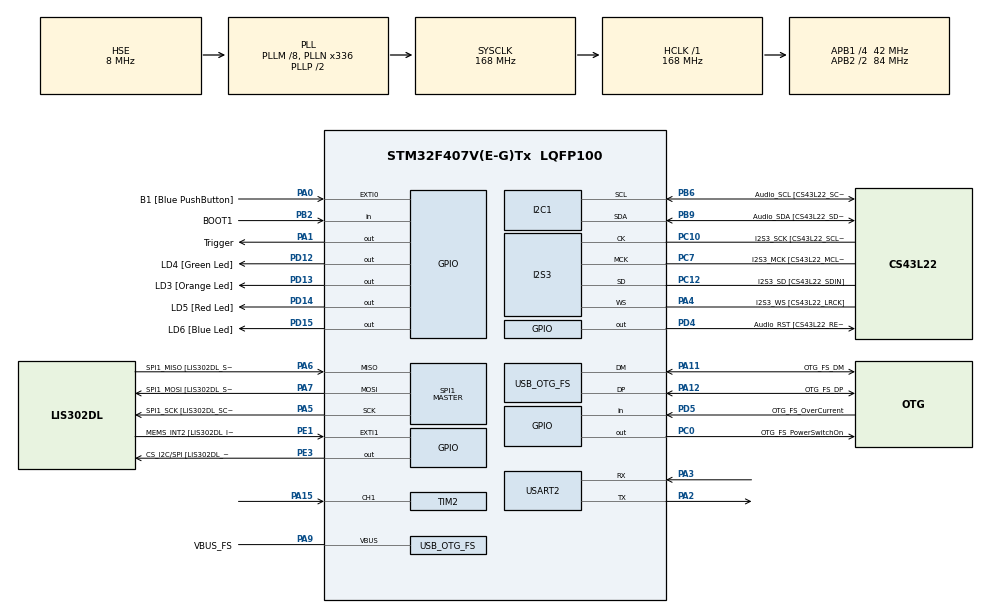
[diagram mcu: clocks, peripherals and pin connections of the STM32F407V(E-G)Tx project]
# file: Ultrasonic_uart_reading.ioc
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I2S3.AudioFreq-Half_Duplex_Master=I2S_AUDIOFREQ_96K
I2S3.ErrorAudioFreq=-2.34 %
I2S3.ErrorAudioFreq-Half_Duplex_Master=0.8 %
I2S3.FullDuplexMode=I2S_FULLDUPLEXMODE_DISABLE
I2S3.Instance=SPI$Index
I2S3.RealAudioFreq=93.75 KHz
I2S3.RealAudioFreq-Half_Duplex_Master=96.774 KHz
I2S3.VirtualMode=I2S_MODE_MASTER
Mcu.Family=STM32F4
Mcu.Name=STM32F407V(E-G)Tx
Mcu.Package=LQFP100
NVIC.OTG_FS_IRQn=true\:0\:0\:false\:false\:true\:true\:true\:true
NVIC.PriorityGroup=NVIC_PRIORITYGROUP_0
NVIC.TIM2_IRQn=true\:0\:0\:false\:false\:true\:true\:true\:true
PA0-WKUP.GPIO_Label=B1 [Blue PushButton]
PA0-WKUP.GPIO_ModeDefaultEXTI=GPIO_MODE_EVT_RISING
PA0-WKUP.GPIO_PuPd=GPIO_NOPULL
PA0-WKUP.Signal=GPXTI0
PA1.GPIO_Label=Trigger
PA1.Signal=GPIO_Output
PA10.GPIO_Label=OTG_FS_ID
PA10.GPIO_Mode=GPIO_MODE_AF_PP
PA10.GPIO_PuPd=GPIO_NOPULL
PA10.GPIO_Speed=GPIO_SPEED_FREQ_LOW
PA10.Signal=USB_OTG_FS_ID
PA11.GPIO_Label=OTG_FS_DM
PA11.GPIO_Mode=GPIO_MODE_AF_PP
PA11.GPIO_PuPd=GPIO_NOPULL
PA11.GPIO_Speed=GPIO_SPEED_FREQ_LOW
PA11.Mode=Host_Only
PA11.Signal=USB_OTG_FS_DM
PA12.GPIO_Label=OTG_FS_DP
PA12.GPIO_Mode=GPIO_MODE_AF_PP
PA12.GPIO_PuPd=GPIO_NOPULL
PA12.GPIO_Speed=GPIO_SPEED_FREQ_LOW
PA12.Mode=Host_Only
PA12.Signal=USB_OTG_FS_DP
PA13.GPIO_Label=SWDIO
PA13.Mode=Serial_Wire
PA13.Signal=SYS_JTMS-SWDIO
PA14.GPIO_Label=SWCLK
PA14.Mode=Serial_Wire
PA14.Signal=SYS_JTCK-SWCLK
PA15.Signal=S_TIM2_CH1_ETR
PA2.Mode=Asynchronous
PA2.Signal=USART2_TX
PA3.Mode=Asynchronous
PA3.Signal=USART2_RX
PA4.GPIO_Label=I2S3_WS [CS43L22_LRCK]
PA4.GPIO_Mode=GPIO_MODE_AF_PP
PA4.GPIO_PuPd=GPIO_NOPULL
PA4.GPIO_Speed=GPIO_SPEED_FREQ_LOW
PA4.Mode=Half_Duplex_Master
PA4.Signal=I2S3_WS
PA5.GPIO_Label=SPI1_SCK [LIS302DL_SCL/SPC]
PA5.GPIO_Mode=GPIO_MODE_AF_PP
PA5.GPIO_PuPd=GPIO_NOPULL
PA5.GPIO_Speed=GPIO_SPEED_FREQ_LOW
PA5.Mode=Full_Duplex_Master
PA5.Signal=SPI1_SCK
PA6.GPIO_Label=SPI1_MISO [LIS302DL_SDO]
PA6.GPIO_Mode=GPIO_MODE_AF_PP
PA6.GPIO_PuPd=GPIO_NOPULL
PA6.GPIO_Speed=GPIO_SPEED_FREQ_LOW
PA6.Mode=Full_Duplex_Master
PA6.Signal=SPI1_MISO
PA7.GPIO_Label=SPI1_MOSI [LIS302DL_SDA/SDI/SDO]
PA7.GPIO_Mode=GPIO_MODE_AF_PP
PA7.GPIO_PuPd=GPIO_NOPULL
PA7.GPIO_Speed=GPIO_SPEED_FREQ_LOW
PA7.Mode=Full_Duplex_Master
PA7.Signal=SPI1_MOSI
PA9.GPIO_Label=VBUS_FS
PA9.GPIO_Mode=GPIO_MODE_INPUT
PA9.GPIO_PuPd=GPIO_NOPULL
PA9.Mode=Activate_VBUS
PA9.Signal=USB_OTG_FS_VBUS
PB10.GPIO_Label=CLK_IN [MP45DT02_CLK]
PB10.GPIO_Mode=GPIO_MODE_AF_PP
PB10.GPIO_PuPd=GPIO_NOPULL
PB10.GPIO_Speed=GPIO_SPEED_FREQ_LOW
PB10.Signal=I2S2_CK
PB2.GPIO_Label=BOOT1
PB2.GPIO_Mode=GPIO_MODE_INPUT
PB2.GPIO_PuPd=GPIO_NOPULL
PB2.Signal=GPIO_Input
PB3.GPIO_Label=SWO
PB3.Signal=SYS_JTDO-SWO
PB6.GPIO_Label=Audio_SCL [CS43L22_SCL]
PB6.GPIO_Mode=GPIO_MODE_AF_OD
PB6.GPIO_Pu=GPIO_PULLUP
PB6.GPIO_PuPd=GPIO_NOPULL
PB6.GPIO_Speed=GPIO_SPEED_FREQ_LOW
PB6.Mode=I2C
PB6.Signal=I2C1_SCL
PB9.GPIO_Label=Audio_SDA [CS43L22_SDA]
PB9.GPIO_Mode=GPIO_MODE_AF_OD
PB9.GPIO_Pu=GPIO_PULLUP
PB9.GPIO_PuPd=GPIO_NOPULL
PB9.GPIO_Speed=GPIO_SPEED_FREQ_LOW
PB9.Mode=I2C
PB9.Signal=I2C1_SDA
PC0.GPIO_Label=OTG_FS_PowerSwitchOn
PC0.GPIO_PuPd=GPIO_NOPULL
PC0.GPIO_Speed=GPIO_SPEED_FREQ_LOW
PC0.PinState=GPIO_PIN_SET
PC0.Signal=GPIO_Output
PC10.GPIO_Label=I2S3_SCK [CS43L22_SCLK]
PC10.GPIO_Mode=GPIO_MODE_AF_PP
PC10.GPIO_PuPd=GPIO_NOPULL
PC10.GPIO_Speed=GPIO_SPEED_FREQ_LOW
PC10.Mode=Half_Duplex_Master
PC10.Signal=I2S3_CK
PC12.GPIO_Label=I2S3_SD [CS43L22_SDIN]
PC12.GPIO_Mode=GPIO_MODE_AF_PP
PC12.GPIO_PuPd=GPIO_NOPULL
PC12.GPIO_Speed=GPIO_SPEED_FREQ_LOW
PC12.Mode=Half_Duplex_Master
PC12.Signal=I2S3_SD
PC14-OSC32_IN.GPIO_Label=PC14-OSC32_IN
PC14-OSC32_IN.Mode=LSE-External-Oscillator
PC14-OSC32_IN.Signal=RCC_OSC32_IN
PC15-OSC32_OUT.GPIO_Label=PC15-OSC32_OUT
PC15-OSC32_OUT.Mode=LSE-External-Oscillator
PC15-OSC32_OUT.Signal=RCC_OSC32_OUT
PC3.GPIO_Label=PDM_OUT [MP45DT02_DOUT]
PC3.GPIO_Mode=GPIO_MODE_AF_PP
PC3.GPIO_PuPd=GPIO_NOPULL
PC3.GPIO_Speed=GPIO_SPEED_FREQ_LOW
PC3.Signal=I2S2_SD
PC7.GPIO_Label=I2S3_MCK [CS43L22_MCLK]
PC7.GPIO_Mode=GPIO_MODE_AF_PP
PC7.GPIO_PuPd=GPIO_NOPULL
PC7.GPIO_Speed=GPIO_SPEED_FREQ_LOW
PC7.Mode=Master_Clock_Activated
PC7.Signal=I2S3_MCK
PD12.GPIO_Label=LD4 [Green Led]
PD12.GPIO_PuPd=GPIO_NOPULL
PD12.GPIO_Speed=GPIO_SPEED_FREQ_LOW
PD12.Signal=GPIO_Output
PD13.GPIO_Label=LD3 [Orange Led]
PD13.GPIO_PuPd=GPIO_NOPULL
PD13.GPIO_Speed=GPIO_SPEED_FREQ_LOW
PD13.Signal=GPIO_Output
PD14.GPIO_Label=LD5 [Red Led]
PD14.GPIO_PuPd=GPIO_NOPULL
PD14.GPIO_Speed=GPIO_SPEED_FREQ_LOW
PD14.Signal=GPIO_Output
PD15.GPIO_Label=LD6 [Blue Led]
PD15.GPIO_PuPd=GPIO_NOPULL
PD15.GPIO_Speed=GPIO_SPEED_FREQ_LOW
PD15.Signal=GPIO_Output
PD4.GPIO_Label=Audio_RST [CS43L22_RESET]
PD4.GPIO_PuPd=GPIO_NOPULL
PD4.GPIO_Speed=GPIO_SPEED_FREQ_LOW
PD4.Signal=GPIO_Output
PD5.GPIO_Label=OTG_FS_OverCurrent
PD5.GPIO_Mode=GPIO_MODE_INPUT
PD5.GPIO_PuPd=GPIO_NOPULL
PD5.Signal=GPIO_Input
PE1.GPIO_Label=MEMS_INT2 [LIS302DL_INT2]
PE1.GPIO_ModeDefaultEXTI=GPIO_MODE_EVT_RISING
PE1.GPIO_PuPd=GPIO_NOPULL
PE1.Signal=GPXTI1
PE3.GPIO_Label=CS_I2C/SPI [LIS302DL_CS_I2C/SPI]
PE3.GPIO_PuPd=GPIO_NOPULL
PE3.GPIO_Speed=GPIO_SPEED_FREQ_LOW
PE3.Signal=GPIO_Output
PH0-OSC_IN.GPIO_Label=PH0-OSC_IN
PH0-OSC_IN.Mode=HSE-External-Oscillator
PH0-OSC_IN.Signal=RCC_OSC_IN
PH1-OSC_OUT.GPIO_Label=PH1-OSC_OUT
PH1-OSC_OUT.Mode=HSE-External-Oscillator
PH1-OSC_OUT.Signal=RCC_OSC_OUT
ProjectManager.HeapSize=0x200
ProjectManager.StackSize=0x400
ProjectManager.TargetToolchain=STM32CubeIDE
RCC.48MHZClocksFreq_Value=48000000
RCC.AHBFreq_Value=168000000
RCC.APB1CLKDivider=RCC_HCLK_DIV4
RCC.APB1Freq_Value=42000000
RCC.APB1TimFreq_Value=84000000
RCC.APB2CLKDivider=RCC_HCLK_DIV2
RCC.APB2Freq_Value=84000000
RCC.APB2TimFreq_Value=168000000
RCC.CortexFreq_Value=168000000
RCC.HCLKFreq_Value=168000000
RCC.HSE_VALUE=8000000
RCC.HSI_VALUE=16000000
RCC.PLLM=8
RCC.PLLN=336
RCC.PLLQ=7
RCC.SYSCLKFreq_VALUE=168000000
RCC.SYSCLKSource=RCC_SYSCLKSOURCE_PLLCLK
RCC.VCOOutputFreq_Value=336000000
SH.S_TIM2_CH1_ETR.0=TIM2_CH1,Input_Capture1_from_TI1
SPI1.BaudRatePrescaler-Full_Duplex_Master=SPI_BAUDRATEPRESCALER_2
SPI1.CalculateBaudRate-Full_Duplex_Master=42.0 MBits/s
SPI1.Direction=SPI_DIRECTION_2LINES
SPI1.Mode=SPI_MODE_MASTER
SPI1.Mode-Full_Duplex_Master=SPI_MODE_MASTER
SPI1.VirtualType=VM_MASTER
TIM2.Channel-Input_Capture1_from_TI1=TIM_CHANNEL_1
TIM2.Prescaler=83
USART2.VirtualMode=VM_ASYNC
USB_HOST.BSP.number=1
USB_HOST.USBH_HandleTypeDef-CDC_FS=hUsbHostFS
USB_HOST.VirtualModeFS=Cdc
USB_HOST0.BSP.STBoard=false
USB_HOST0.BSP.api=Unknown
USB_HOST0.BSP.instance=PC0
USB_HOST0.BSP.ip=GPIO
USB_HOST0.BSP.mode=Output
USB_HOST0.BSP.name=Drive_VBUS_FS
USB_HOST0.BSP.solution=PC0
USB_OTG_FS.VirtualMode=Host_Only
USB_OTG_FS.phy_itface=HCD_PHY_EMBEDDED
VP_USB_HOST_VS_USB_HOST_CDC_FS.Mode=CDC_FS
board=STM32F407G-DISC1

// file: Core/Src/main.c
/* USER CODE BEGIN Header */
/**
  ******************************************************************************
  * @file           : main.c
  * @brief          : Main program body
  ******************************************************************************
  * @attention
  *
  * Copyright (c) 2026 STMicroelectronics.
  * All rights reserved.
  *
  * This software is licensed under terms that can be found in the LICENSE file
  * in the root directory of this software component.
  * If no LICENSE file comes with this software, it is provided AS-IS.
  *
  ******************************************************************************
  */
/* USER CODE END Header */
#include "main.h"
#include "usb_host.h"
#include<stdio.h>
#include<string.h>

I2C_HandleTypeDef hi2c1;

I2S_HandleTypeDef hi2s3;

SPI_HandleTypeDef hspi1;

TIM_HandleTypeDef htim2;

UART_HandleTypeDef huart2;

void SystemClock_Config(void);
static void MX_GPIO_Init(void);
static void MX_I2C1_Init(void);
static void MX_I2S3_Init(void);
static void MX_SPI1_Init(void);
static void MX_TIM2_Init(void);
static void MX_USART2_UART_Init(void);
void MX_USB_HOST_Process(void);

/* USER CODE BEGIN 0 */
void delay(uint16_t time)
{
	__HAL_TIM_SET_COUNTER(&htim2,0);
	while(__HAL_TIM_GET_COUNTER(&htim2)<time);
}

uint32_t IC_Val1 = 0;
uint32_t IC_Val2 = 0;
uint32_t Difference = 0;
int Is_First_Captured = 0;  // is the first value captured ?
uint8_t Distance  = 0;
char uart_buf[50];
volatile uint8_t is_data_available = 0;
#define TRIG_PIN GPIO_PIN_1
#define TRIG_PORT GPIOA
void HAL_TIM_IC_CaptureCallback(TIM_HandleTypeDef *htim)
{
    if (htim->Channel == HAL_TIM_ACTIVE_CHANNEL_1)  // if the interrupt source is channel 1
    {
        if (Is_First_Captured == 0) // if the first value is not captured
        {
            IC_Val1 = HAL_TIM_ReadCapturedValue(htim, TIM_CHANNEL_1); // read the first value
            Is_First_Captured = 1;  // set the first captured as true
            // Now change the polarity to falling edge
            __HAL_TIM_SET_CAPTUREPOLARITY(htim, TIM_CHANNEL_1, TIM_INPUTCHANNELPOLARITY_FALLING);
        }

        else if (Is_First_Captured == 1)   // if the first is already captured
        {
            IC_Val2 = HAL_TIM_ReadCapturedValue(htim, TIM_CHANNEL_1);  // read second value
            __HAL_TIM_SET_COUNTER(htim, 0);  // reset the counter

            if (IC_Val2 > IC_Val1)
            {
                Difference = IC_Val2 - IC_Val1;
            }
            else if (IC_Val1 > IC_Val2)
            {
                Difference = (0xffff - IC_Val1) + IC_Val2;
            }

            Distance = Difference * .034 / 2;
            is_data_available = 1;

            Is_First_Captured = 0; // set it back to false

            // set polarity back to rising edge
            __HAL_TIM_SET_CAPTUREPOLARITY(htim, TIM_CHANNEL_1, TIM_INPUTCHANNELPOLARITY_RISING);
            __HAL_TIM_DISABLE_IT(&htim2, TIM_IT_CC1);
        }
    }
}
void HCSR04_Read (void)
{
    HAL_GPIO_WritePin(TRIG_PORT, TRIG_PIN, GPIO_PIN_SET);  // pull the TRIG pin HIGH
    delay(10);  // wait for 10 us
    HAL_GPIO_WritePin(TRIG_PORT, TRIG_PIN, GPIO_PIN_RESET);  // pull the TRIG pin LOW

    __HAL_TIM_ENABLE_IT(&htim2, TIM_IT_CC1);
}
/* USER CODE END 0 */

int main(void)
{

  /* MCU Configuration--------------------------------------------------------*/

  /* Reset of all peripherals, Initializes the Flash interface and the Systick. */
  HAL_Init();

  /* Configure the system clock */
  SystemClock_Config();

  /* Initialize all configured peripherals */
  MX_GPIO_Init();
  MX_I2C1_Init();
  MX_I2S3_Init();
  MX_SPI1_Init();
  MX_USB_HOST_Init();
  MX_TIM2_Init();
  MX_USART2_UART_Init();
  /* USER CODE BEGIN 2 */
  HAL_UART_Transmit(&huart2, (uint8_t*)"UART OK\r\n", 9, HAL_MAX_DELAY);
HAL_TIM_IC_Start_IT(&htim2, TIM_CHANNEL_1);
  /* USER CODE END 2 */

  /* Infinite loop */
  while (1)
  {

    /* USER CODE BEGIN 3 */
    HCSR04_Read();
    if (is_data_available)
        {
            sprintf(uart_buf, "Distance: %d cm\r\n", Distance);
            HAL_UART_Transmit(&huart2, (uint8_t*)uart_buf, strlen(uart_buf), HAL_MAX_DELAY);

            is_data_available = 0;   // 🔥 reset flag
        }

    HAL_Delay(200);
  }
  /* USER CODE END 3 */
}

void SystemClock_Config(void)
{
  RCC_OscInitTypeDef RCC_OscInitStruct = {0};
  RCC_ClkInitTypeDef RCC_ClkInitStruct = {0};

  /** Configure the main internal regulator output voltage
  */
  __HAL_RCC_PWR_CLK_ENABLE();
  __HAL_PWR_VOLTAGESCALING_CONFIG(PWR_REGULATOR_VOLTAGE_SCALE1);

  /** Initializes the RCC Oscillators according to the specified parameters
  * in the RCC_OscInitTypeDef structure.
  */
  RCC_OscInitStruct.OscillatorType = RCC_OSCILLATORTYPE_HSE;
  RCC_OscInitStruct.HSEState = RCC_HSE_ON;
  RCC_OscInitStruct.PLL.PLLState = RCC_PLL_ON;
  RCC_OscInitStruct.PLL.PLLSource = RCC_PLLSOURCE_HSE;
  RCC_OscInitStruct.PLL.PLLM = 8;
  RCC_OscInitStruct.PLL.PLLN = 336;
  RCC_OscInitStruct.PLL.PLLP = RCC_PLLP_DIV2;
  RCC_OscInitStruct.PLL.PLLQ = 7;
  if (HAL_RCC_OscConfig(&RCC_OscInitStruct) != HAL_OK)
  {
    Error_Handler();
  }

  /** Initializes the CPU, AHB and APB buses clocks
  */
  RCC_ClkInitStruct.ClockType = RCC_CLOCKTYPE_HCLK|RCC_CLOCKTYPE_SYSCLK
                              |RCC_CLOCKTYPE_PCLK1|RCC_CLOCKTYPE_PCLK2;
  RCC_ClkInitStruct.SYSCLKSource = RCC_SYSCLKSOURCE_PLLCLK;
  RCC_ClkInitStruct.AHBCLKDivider = RCC_SYSCLK_DIV1;
  RCC_ClkInitStruct.APB1CLKDivider = RCC_HCLK_DIV4;
  RCC_ClkInitStruct.APB2CLKDivider = RCC_HCLK_DIV2;

  if (HAL_RCC_ClockConfig(&RCC_ClkInitStruct, FLASH_LATENCY_5) != HAL_OK)
  {
    Error_Handler();
  }
}

static void MX_I2C1_Init(void)
{

  hi2c1.Instance = I2C1;
  hi2c1.Init.ClockSpeed = 100000;
  hi2c1.Init.DutyCycle = I2C_DUTYCYCLE_2;
  hi2c1.Init.OwnAddress1 = 0;
  hi2c1.Init.AddressingMode = I2C_ADDRESSINGMODE_7BIT;
  hi2c1.Init.DualAddressMode = I2C_DUALADDRESS_DISABLE;
  hi2c1.Init.OwnAddress2 = 0;
  hi2c1.Init.GeneralCallMode = I2C_GENERALCALL_DISABLE;
  hi2c1.Init.NoStretchMode = I2C_NOSTRETCH_DISABLE;
  if (HAL_I2C_Init(&hi2c1) != HAL_OK)
  {
    Error_Handler();
  }

}

static void MX_I2S3_Init(void)
{

  hi2s3.Instance = SPI3;
  hi2s3.Init.Mode = I2S_MODE_MASTER_TX;
  hi2s3.Init.Standard = I2S_STANDARD_PHILIPS;
  hi2s3.Init.DataFormat = I2S_DATAFORMAT_16B;
  hi2s3.Init.MCLKOutput = I2S_MCLKOUTPUT_ENABLE;
  hi2s3.Init.AudioFreq = I2S_AUDIOFREQ_96K;
  hi2s3.Init.CPOL = I2S_CPOL_LOW;
  hi2s3.Init.ClockSource = I2S_CLOCK_PLL;
  hi2s3.Init.FullDuplexMode = I2S_FULLDUPLEXMODE_DISABLE;
  if (HAL_I2S_Init(&hi2s3) != HAL_OK)
  {
    Error_Handler();
  }

}

static void MX_SPI1_Init(void)
{

  /* SPI1 parameter configuration*/
  hspi1.Instance = SPI1;
  hspi1.Init.Mode = SPI_MODE_MASTER;
  hspi1.Init.Direction = SPI_DIRECTION_2LINES;
  hspi1.Init.DataSize = SPI_DATASIZE_8BIT;
  hspi1.Init.CLKPolarity = SPI_POLARITY_LOW;
  hspi1.Init.CLKPhase = SPI_PHASE_1EDGE;
  hspi1.Init.NSS = SPI_NSS_SOFT;
  hspi1.Init.BaudRatePrescaler = SPI_BAUDRATEPRESCALER_2;
  hspi1.Init.FirstBit = SPI_FIRSTBIT_MSB;
  hspi1.Init.TIMode = SPI_TIMODE_DISABLE;
  hspi1.Init.CRCCalculation = SPI_CRCCALCULATION_DISABLE;
  hspi1.Init.CRCPolynomial = 10;
  if (HAL_SPI_Init(&hspi1) != HAL_OK)
  {
    Error_Handler();
  }

}

static void MX_TIM2_Init(void)
{

  TIM_MasterConfigTypeDef sMasterConfig = {0};
  TIM_IC_InitTypeDef sConfigIC = {0};

  htim2.Instance = TIM2;
  htim2.Init.Prescaler = 83;
  htim2.Init.CounterMode = TIM_COUNTERMODE_UP;
  htim2.Init.Period = 4294967295;
  htim2.Init.ClockDivision = TIM_CLOCKDIVISION_DIV1;
  htim2.Init.AutoReloadPreload = TIM_AUTORELOAD_PRELOAD_DISABLE;
  if (HAL_TIM_IC_Init(&htim2) != HAL_OK)
  {
    Error_Handler();
  }
  sMasterConfig.MasterOutputTrigger = TIM_TRGO_RESET;
  sMasterConfig.MasterSlaveMode = TIM_MASTERSLAVEMODE_DISABLE;
  if (HAL_TIMEx_MasterConfigSynchronization(&htim2, &sMasterConfig) != HAL_OK)
  {
    Error_Handler();
  }
  sConfigIC.ICPolarity = TIM_INPUTCHANNELPOLARITY_RISING;
  sConfigIC.ICSelection = TIM_ICSELECTION_DIRECTTI;
  sConfigIC.ICPrescaler = TIM_ICPSC_DIV1;
  sConfigIC.ICFilter = 0;
  if (HAL_TIM_IC_ConfigChannel(&htim2, &sConfigIC, TIM_CHANNEL_1) != HAL_OK)
  {
    Error_Handler();
  }

}

static void MX_USART2_UART_Init(void)
{

  huart2.Instance = USART2;
  huart2.Init.BaudRate = 115200;
  huart2.Init.WordLength = UART_WORDLENGTH_8B;
  huart2.Init.StopBits = UART_STOPBITS_1;
  huart2.Init.Parity = UART_PARITY_NONE;
  huart2.Init.Mode = UART_MODE_TX_RX;
  huart2.Init.HwFlowCtl = UART_HWCONTROL_NONE;
  huart2.Init.OverSampling = UART_OVERSAMPLING_16;
  if (HAL_UART_Init(&huart2) != HAL_OK)
  {
    Error_Handler();
  }

}

static void MX_GPIO_Init(void)
{
  GPIO_InitTypeDef GPIO_InitStruct = {0};

  /* GPIO Ports Clock Enable */
  __HAL_RCC_GPIOE_CLK_ENABLE();
  __HAL_RCC_GPIOC_CLK_ENABLE();
  __HAL_RCC_GPIOH_CLK_ENABLE();
  __HAL_RCC_GPIOA_CLK_ENABLE();
  __HAL_RCC_GPIOB_CLK_ENABLE();
  __HAL_RCC_GPIOD_CLK_ENABLE();

  /*Configure GPIO pin Output Level */
  HAL_GPIO_WritePin(CS_I2C_SPI_GPIO_Port, CS_I2C_SPI_Pin, GPIO_PIN_RESET);

  /*Configure GPIO pin Output Level */
  HAL_GPIO_WritePin(OTG_FS_PowerSwitchOn_GPIO_Port, OTG_FS_PowerSwitchOn_Pin, GPIO_PIN_SET);

  /*Configure GPIO pin Output Level */
  HAL_GPIO_WritePin(Trigger_GPIO_Port, Trigger_Pin, GPIO_PIN_RESET);

  /*Configure GPIO pin Output Level */
  HAL_GPIO_WritePin(GPIOD, LD4_Pin|LD3_Pin|LD5_Pin|LD6_Pin
                          |Audio_RST_Pin, GPIO_PIN_RESET);

  /*Configure GPIO pin : CS_I2C_SPI_Pin */
  GPIO_InitStruct.Pin = CS_I2C_SPI_Pin;
  GPIO_InitStruct.Mode = GPIO_MODE_OUTPUT_PP;
  GPIO_InitStruct.Pull = GPIO_NOPULL;
  GPIO_InitStruct.Speed = GPIO_SPEED_FREQ_LOW;
  HAL_GPIO_Init(CS_I2C_SPI_GPIO_Port, &GPIO_InitStruct);

  /*Configure GPIO pin : OTG_FS_PowerSwitchOn_Pin */
  GPIO_InitStruct.Pin = OTG_FS_PowerSwitchOn_Pin;
  GPIO_InitStruct.Mode = GPIO_MODE_OUTPUT_PP;
  GPIO_InitStruct.Pull = GPIO_NOPULL;
  GPIO_InitStruct.Speed = GPIO_SPEED_FREQ_LOW;
  HAL_GPIO_Init(OTG_FS_PowerSwitchOn_GPIO_Port, &GPIO_InitStruct);

  /*Configure GPIO pin : PDM_OUT_Pin */
  GPIO_InitStruct.Pin = PDM_OUT_Pin;
  GPIO_InitStruct.Mode = GPIO_MODE_AF_PP;
  GPIO_InitStruct.Pull = GPIO_NOPULL;
  GPIO_InitStruct.Speed = GPIO_SPEED_FREQ_LOW;
  GPIO_InitStruct.Alternate = GPIO_AF5_SPI2;
  HAL_GPIO_Init(PDM_OUT_GPIO_Port, &GPIO_InitStruct);

  /*Configure GPIO pin : B1_Pin */
  GPIO_InitStruct.Pin = B1_Pin;
  GPIO_InitStruct.Mode = GPIO_MODE_EVT_RISING;
  GPIO_InitStruct.Pull = GPIO_NOPULL;
  HAL_GPIO_Init(B1_GPIO_Port, &GPIO_InitStruct);

  /*Configure GPIO pin : Trigger_Pin */
  GPIO_InitStruct.Pin = Trigger_Pin;
  GPIO_InitStruct.Mode = GPIO_MODE_OUTPUT_PP;
  GPIO_InitStruct.Pull = GPIO_NOPULL;
  GPIO_InitStruct.Speed = GPIO_SPEED_FREQ_LOW;
  HAL_GPIO_Init(Trigger_GPIO_Port, &GPIO_InitStruct);

  /*Configure GPIO pin : BOOT1_Pin */
  GPIO_InitStruct.Pin = BOOT1_Pin;
  GPIO_InitStruct.Mode = GPIO_MODE_INPUT;
  GPIO_InitStruct.Pull = GPIO_NOPULL;
  HAL_GPIO_Init(BOOT1_GPIO_Port, &GPIO_InitStruct);

  /*Configure GPIO pin : CLK_IN_Pin */
  GPIO_InitStruct.Pin = CLK_IN_Pin;
  GPIO_InitStruct.Mode = GPIO_MODE_AF_PP;
  GPIO_InitStruct.Pull = GPIO_NOPULL;
  GPIO_InitStruct.Speed = GPIO_SPEED_FREQ_LOW;
  GPIO_InitStruct.Alternate = GPIO_AF5_SPI2;
  HAL_GPIO_Init(CLK_IN_GPIO_Port, &GPIO_InitStruct);

  /*Configure GPIO pins : LD4_Pin LD3_Pin LD5_Pin LD6_Pin
                           Audio_RST_Pin */
  GPIO_InitStruct.Pin = LD4_Pin|LD3_Pin|LD5_Pin|LD6_Pin
                          |Audio_RST_Pin;
  GPIO_InitStruct.Mode = GPIO_MODE_OUTPUT_PP;
  GPIO_InitStruct.Pull = GPIO_NOPULL;
  GPIO_InitStruct.Speed = GPIO_SPEED_FREQ_LOW;
  HAL_GPIO_Init(GPIOD, &GPIO_InitStruct);

  /*Configure GPIO pin : OTG_FS_OverCurrent_Pin */
  GPIO_InitStruct.Pin = OTG_FS_OverCurrent_Pin;
  GPIO_InitStruct.Mode = GPIO_MODE_INPUT;
  GPIO_InitStruct.Pull = GPIO_NOPULL;
  HAL_GPIO_Init(OTG_FS_OverCurrent_GPIO_Port, &GPIO_InitStruct);

  /*Configure GPIO pin : MEMS_INT2_Pin */
  GPIO_InitStruct.Pin = MEMS_INT2_Pin;
  GPIO_InitStruct.Mode = GPIO_MODE_EVT_RISING;
  GPIO_InitStruct.Pull = GPIO_NOPULL;
  HAL_GPIO_Init(MEMS_INT2_GPIO_Port, &GPIO_InitStruct);

}

void Error_Handler(void)
{
  __disable_irq();
  while (1)
  {
  }
}
